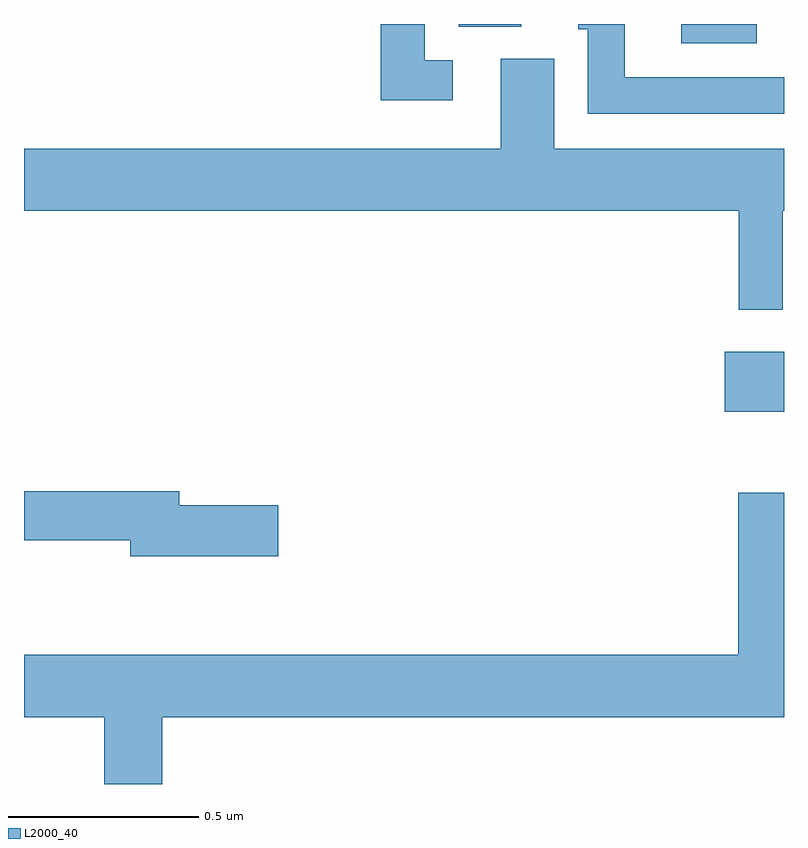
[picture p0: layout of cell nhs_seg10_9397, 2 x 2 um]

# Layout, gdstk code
import gdstk
lib = gdstk.Library(unit=1e-6, precision=1e-09)
def R(c, l, rs):  # rectangles x0, y0, x1, y1
    for r in rs: c.add(gdstk.rectangle(r[:2], r[2:], *l))
def P(c, l, *ps):  # polygons
    for p in ps: c.add(gdstk.Polygon(p, *l))
L2000_40 = (2000, 40)

nhs_seg10_9397 = lib.new_cell('nhs_seg10_9397')
R(nhs_seg10_9397, L2000_40, [(230.844,1274.48,231,1274.638), (230.73,1275.45,230.928,1275.5), (230.144,1275.493,230.308,1275.5)])
P(nhs_seg10_9397, L2000_40, [(230.128,1275.405),(230.055,1275.405),(230.055,1275.5),(229.939,1275.5),(229.939,1275.3),(230.128,1275.3)],
  [(231,1275.36),(230.581,1275.36),(230.581,1275.5),(230.459,1275.5),(230.459,1275.486),(230.484,1275.486),(230.484,1275.264),(231,1275.264)],
  [(230.997,1275.008),(231,1275.008),(231,1275.172),(230.395,1275.172),(230.395,1275.408),(230.255,1275.408),(230.255,1275.172),(229,1275.172),(229,1275.008),(230.881,1275.008),(230.881,1274.748),(230.997,1274.748)],
  [(229.669,1274.234),(229.408,1274.234),(229.408,1274.27),(229,1274.27),(229,1274.142),(229.28,1274.142),(229.28,1274.099),(229.669,1274.099)],
  [(229.364,1273.676),(231,1273.676),(231,1274.266),(230.879,1274.266),(230.879,1273.84),(229,1273.84),(229,1273.676),(229.211,1273.676),(229.211,1273.5),(229.364,1273.5)])

lib.write_gds('nhs_seg10_9397.gds')
